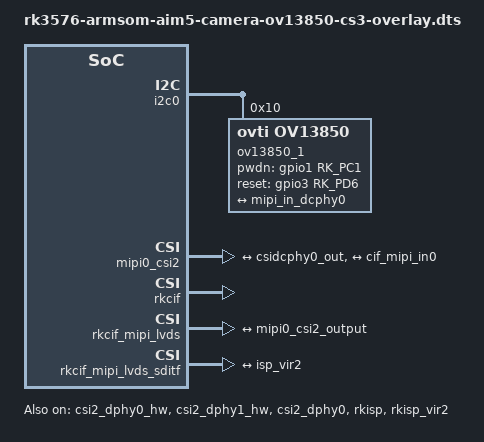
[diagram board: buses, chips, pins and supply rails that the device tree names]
/dts-v1/;
/plugin/;

#include <dt-bindings/clock/rockchip,rk3576-cru.h>
#include <dt-bindings/power/rk3576-power.h>
#include <dt-bindings/gpio/gpio.h>
#include <dt-bindings/pinctrl/rockchip.h>

/ {
	fragment@0 {
		target = <&i2c0>;
		__overlay__ {
			#address-cells = <1>;
            #size-cells = <0>;
            status = "okay";
            pinctrl-names = "default";
            pinctrl-0 = <&i2c0m0_xfer>;

            ov13850_1: ov13850_1@10 {
                status = "okay";
                compatible = "ovti,ov13850";
                reg = <0x10>;
                clocks = <&cru CLK_MIPI_CAMERAOUT_M2>;
                clock-names = "xvclk";
                pinctrl-names = "rockchip,camera_default";
                pinctrl-0 = <&cam_clk2m1_clk2>;
                pwdn-gpios = <&gpio1 RK_PC1 GPIO_ACTIVE_HIGH>;
                reset-gpios = <&gpio3 RK_PD6 GPIO_ACTIVE_HIGH>;
                rockchip,camera-module-index = <2>;
                rockchip,camera-module-facing = "back";
                rockchip,camera-module-name = "ZC-OV13850R2A-V1";
                rockchip,camera-module-lens-name = "Largan-50064B31";
                port {
                    ov13850_out1: endpoint {
                        remote-endpoint = <&mipi_in_dcphy0>;
                        data-lanes = <1 2 3 4>;
                    };
                };
            };
		};
	};

	fragment@1 {
		target = <&csi2_dphy0_hw>;
		__overlay__ {
			status = "okay";
		};
	};

	fragment@2 {
		target = <&csi2_dphy1_hw>;
		__overlay__ {
			status = "okay";
		};
	};

/* 4.  ov13850_1 (i2c0) -> csi2_dcphy0 -> mipi0_csi2 -> rkcif_mipi_lvds -> isp_vir2 */
	fragment@3 {
		target = <&csi2_dphy0>;
		__overlay__ {
			status = "okay";
            ports {
                #address-cells = <1>;
                #size-cells = <0>;
                port@0 {
                    reg = <0>;
                    #address-cells = <1>;
                    #size-cells = <0>;

                    mipi_in_dcphy0: endpoint@1 {
                        reg = <1>;
                        remote-endpoint = <&ov13850_out1>;
                        data-lanes = <1 2 3 4>;
                    };
                };
                port@1 {
                    reg = <1>;
                    #address-cells = <1>;
                    #size-cells = <0>;

                    csidcphy0_out: endpoint@0 {
                        reg = <0>;
                        remote-endpoint = <&mipi0_csi2_input>;
                    };
                };
            };
		};
	};

	fragment@4 {
		target = <&mipi0_csi2>;
		__overlay__ {
			status = "okay";
            ports {
                #address-cells = <1>;
                #size-cells = <0>;

                port@0 {
                    reg = <0>;
                    #address-cells = <1>;
                    #size-cells = <0>;

                    mipi0_csi2_input: endpoint@1 {
                        reg = <1>;
                        remote-endpoint = <&csidcphy0_out>;
                    };
                };

                port@1 {
                    reg = <1>;
                    #address-cells = <1>;
                    #size-cells = <0>;

                    mipi0_csi2_output: endpoint@0 {
                        reg = <0>;
                        remote-endpoint = <&cif_mipi_in0>;
                    };
                };
            };
		};
	};

	fragment@5 {
		target = <&rkcif>;
		__overlay__ {
			status = "okay";
		};
	};

    fragment@6 {
		target = <&rkcif_mmu>;

		__overlay__ {
			status = "okay";
		};
	};

	fragment@7 {
		target = <&rkisp>;

		__overlay__ {
			status = "okay";
		};
	};
	
	fragment@8 {
		target = <&rkisp_mmu>;

		__overlay__ {
			status = "okay";
		};
	};

/* ov13850_1 (i2c0) */
	fragment@9 {
		target = <&rkcif_mipi_lvds>;
		__overlay__ {
			status = "okay";
            port {
                cif_mipi_in0: endpoint {
                    remote-endpoint = <&mipi0_csi2_output>;
                };
            };
		};
	};

	fragment@10 {
		target = <&rkcif_mipi_lvds_sditf>;
		__overlay__ {
			status = "okay";
            port {
                mipi_lvds_sditf: endpoint {
                    remote-endpoint = <&isp_vir2>;   
                };
            };
		};
	};

	fragment@11 {
		target = <&rkisp_vir2>;
		__overlay__ {
			status = "okay";
            port {
                #address-cells = <1>;
                #size-cells = <0>;

                isp_vir2: endpoint@0 {
                    reg = <0>;
                    remote-endpoint = <&mipi_lvds_sditf>;
                };
            };
		};
	};
};
